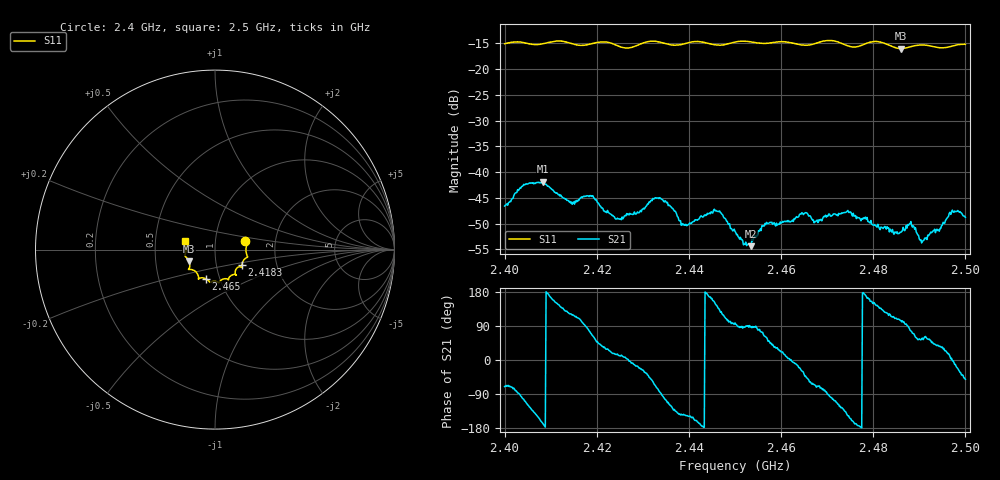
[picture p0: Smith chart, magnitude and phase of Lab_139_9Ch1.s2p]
# Hz S RI R 50
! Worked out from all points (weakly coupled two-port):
!   601 points, 2.4 GHz to 2.5 GHz, reference 50 ohm
!   highest |S21| = -41.88 dB at 2.4083 GHz (marker M1); lowest = -54.4 dB at 2.4535 GHz (marker M2)
!   lowest |S11| = -16.1 dB at 2.486 GHz (marker M3), VSWR 1.37, Z = 37.2 - j4.98 ohm
!   |S11| at or under -10 dB: start of sweep to end of sweep
!   S12 and S22 are empty: the file has one direction only
!   S11 on the Smith chart (normalised r, x): 2.4 GHz: 1.40, +0.13; 2.4183 GHz: 1.33, -0.24; 2.465 GHz: 0.86, -0.29; 2.5 GHz: 0.71, +0.07
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2.4e9  0.1696 0.0458  0.00158 -0.0044  0 0  0 0
2.404167e9  0.1784 0.0261  -0.00182 -0.00738  0 0  0 0
2.408333e9  0.1748 -0.0199  -0.00788 -0.00163  0 0  0 0
2.414167e9  0.1718 -0.0472  -0.00273 0.00442  0 0  0 0
2.416667e9  0.155 -0.068  -0.00123 0.00561  0 0  0 0
2.418333e9  0.15 -0.087  0.00132 0.00563  0 0  0 0
2.424833e9  0.1355 -0.0957  0.00345 0.00072  0 0  0 0
2.433333e9  0.1175 -0.1409  0.00118 -0.00549  0 0  0 0
2.438833e9  0.0785 -0.156  -0.00251 -0.00187  0 0  0 0
2.445833e9  0.0545 -0.1622  -0.00353 0.00237  0 0  0 0
2.45e9  0.0253 -0.1807  -0.000361 0.00264  0 0  0 0
2.4535e9  0.0171 -0.1822  7.31e-05 0.00191  0 0  0 0
2.456333e9  -0.00364 -0.1771  0.00133 0.00268  0 0  0 0
2.465e9  -0.0526 -0.1618  0.00312 -0.00242  0 0  0 0
2.466667e9  -0.0714 -0.1574  0.00156 -0.00313  0 0  0 0
2.474667e9  -0.0986 -0.1341  -0.00342 -0.00219  0 0  0 0
2.483333e9  -0.1413 -0.0965  -0.00134 0.00255  0 0  0 0
2.486e9  -0.1434 -0.0654  -0.000629 0.00253  0 0  0 0
2.488333e9  -0.1593 -0.0443  0.000789 0.00293  0 0  0 0
2.490667e9  -0.1674 -0.035  0.00114 0.00181  0 0  0 0
2.497e9  -0.1637 0.0276  0.00408 0.000328  0 0  0 0
2.5e9  -0.167 0.0469  0.00228 -0.00282  0 0  0 0
